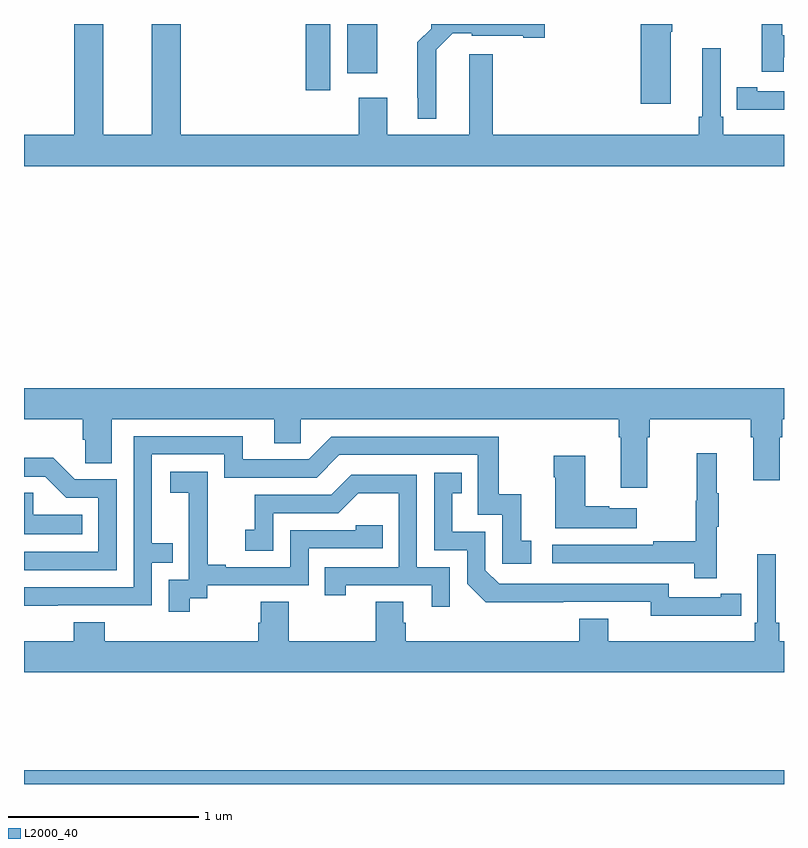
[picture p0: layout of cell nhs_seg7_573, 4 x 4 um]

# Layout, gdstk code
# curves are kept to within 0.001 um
import gdstk
lib = gdstk.Library(unit=1e-6, precision=1e-09)
def R(c, l, rs):  # rectangles x0, y0, x1, y1
    for r in rs: c.add(gdstk.rectangle(r[:2], r[2:], *l))
def P(c, l, *ps):  # polygons
    for p in ps: c.add(gdstk.Polygon(p, *l))
L2000_40 = (2000, 40)

nhs_seg7_573 = lib.new_cell('nhs_seg7_573')
R(nhs_seg7_573, L2000_40, [(155,1028,159,1028.072), (156.482,1031.652,156.613,1032), (156.701,1031.742,156.859,1032)])
P(nhs_seg7_573, L2000_40, [(158.404,1031.959),(158.412,1031.959),(158.412,1032),(158.246,1032),(158.246,1031.58),(158.404,1031.58)],
  [(158.999,1031.826),(159,1031.826),(159,1031.942),(158.992,1031.942),(158.992,1032),(158.882,1032),(158.882,1031.748),(158.999,1031.748)],
  [(159,1031.416),(158.681,1031.416),(158.681,1031.512),(158.667,1031.512),(158.667,1031.872),(158.57,1031.872),(158.57,1031.512),(158.551,1031.512),(158.551,1031.416),(157.466,1031.416),(157.466,1031.842),(157.343,1031.842),(157.343,1031.416),(156.913,1031.416),(156.913,1031.611),(156.761,1031.611),(156.761,1031.416),(155.825,1031.416),(155.825,1032),(155.672,1032),(155.672,1031.416),(155.416,1031.416),(155.416,1032),(155.264,1032),(155.264,1031.416),(155,1031.416),(155,1031.252),(159,1031.252)],
  [(157.171,1031.864),(157.257,1031.951),(157.356,1031.951),(157.356,1031.939),(157.628,1031.939),(157.628,1031.927),(157.741,1031.927),(157.741,1032),(157.143,1032),(157.143,1031.976),(157.07,1031.903),(157.07,1031.611),(157.073,1031.611),(157.073,1031.501),(157.171,1031.501)],
  [(159,1031.646),(158.86,1031.646),(158.86,1031.666),(158.752,1031.666),(158.752,1031.55),(158.86,1031.55),(158.86,1031.549),(159,1031.549)],
  [(158.281,1029.824),(158.294,1029.824),(158.294,1029.92),(158.825,1029.92),(158.825,1029.824),(158.837,1029.824),(158.837,1029.6),(158.977,1029.6),(158.977,1029.824),(158.99,1029.824),(158.99,1029.92),(159,1029.92),(159,1030.084),(155,1030.084),(155,1029.92),(155.309,1029.92),(155.309,1029.811),(155.322,1029.811),(155.322,1029.688),(155.461,1029.688),(155.461,1029.92),(156.317,1029.92),(156.317,1029.793),(156.456,1029.793),(156.456,1029.92),(158.129,1029.92),(158.129,1029.824),(158.141,1029.824),(158.141,1029.558),(158.281,1029.558)],
  [(155.177,1028.94),(155.673,1028.94),(155.673,1029.165),(155.783,1029.165),(155.783,1029.266),(155.673,1029.266),(155.673,1029.735),(156.054,1029.735),(156.054,1029.612),(156.54,1029.612),(156.66,1029.732),(157.389,1029.732),(157.389,1029.417),(157.518,1029.417),(157.518,1029.159),(157.669,1029.159),(157.669,1029.279),(157.616,1029.279),(157.616,1029.526),(157.498,1029.526),(157.498,1029.828),(156.618,1029.828),(156.498,1029.708),(156.151,1029.708),(156.151,1029.831),(155.577,1029.831),(155.577,1029.036),(155,1029.036),(155,1028.939)],
  [(158.645,1029.355),(158.656,1029.355),(158.656,1029.529),(158.645,1029.529),(158.645,1029.742),(158.542,1029.742),(158.542,1029.492),(158.535,1029.492),(158.535,1029.278),(158.311,1029.278),(158.311,1029.258),(157.779,1029.258),(157.779,1029.162),(158.527,1029.162),(158.527,1029.084),(158.645,1029.084)],
  [(158.224,1029.451),(158.081,1029.451),(158.081,1029.461),(157.954,1029.461),(157.954,1029.727),(157.789,1029.727),(157.789,1029.614),(157.796,1029.614),(157.796,1029.347),(158.224,1029.347)],
  [(155.487,1029.603),(155.268,1029.603),(155.155,1029.716),(155,1029.716),(155,1029.618),(155.111,1029.618),(155.222,1029.507),(155.391,1029.507),(155.391,1029.222),(155,1029.222),(155,1029.126),(155.487,1029.126)],
  [(155.872,1028.977),(155.964,1028.977),(155.964,1029.045),(156.498,1029.045),(156.498,1029.24),(156.887,1029.24),(156.887,1029.363),(156.747,1029.363),(156.747,1029.336),(156.402,1029.336),(156.402,1029.141),(156.061,1029.141),(156.061,1029.154),(155.966,1029.154),(155.966,1029.437),(155.967,1029.437),(155.967,1029.643),(155.769,1029.643),(155.769,1029.533),(155.867,1029.533),(155.867,1029.305),(155.868,1029.305),(155.868,1029.075),(155.763,1029.075),(155.763,1028.907),(155.872,1028.907)],
  [(158.666,1028.886),(158.774,1028.886),(158.774,1029.002),(158.666,1029.002),(158.666,1028.982),(158.394,1028.982),(158.394,1029.054),(157.5,1029.054),(157.428,1029.126),(157.428,1029.327),(157.255,1029.327),(157.255,1029.531),(157.304,1029.531),(157.304,1029.637),(157.158,1029.637),(157.158,1029.231),(157.332,1029.231),(157.332,1029.054),(157.43,1028.957),(158.298,1028.958),(158.298,1028.885)],
  [(157.242,1029.141),(157.068,1029.141),(157.068,1029.627),(156.722,1029.627),(156.617,1029.522),(156.214,1029.522),(156.214,1029.337),(156.165,1029.337),(156.165,1029.228),(156.312,1029.228),(156.312,1029.426),(156.654,1029.426),(156.758,1029.53),(156.972,1029.53),(156.972,1029.141),(156.583,1029.141),(156.583,1028.994),(156.694,1028.994),(156.694,1029.045),(157.145,1029.045),(157.145,1028.934),(157.242,1028.934)],
  [(155.306,1029.418),(155.049,1029.418),(155.049,1029.533),(155,1029.533),(155,1029.314),(155.306,1029.314)],
  [(159,1028.752),(158.975,1028.752),(158.975,1028.848),(158.956,1028.848),(158.956,1029.208),(158.859,1029.208),(158.859,1028.848),(158.846,1028.848),(158.846,1028.752),(158.074,1028.752),(158.074,1028.869),(157.922,1028.869),(157.922,1028.752),(157.01,1028.752),(157.01,1028.85),(156.997,1028.85),(156.997,1028.96),(156.85,1028.96),(156.85,1028.752),(156.393,1028.752),(156.393,1028.96),(156.245,1028.96),(156.245,1028.85),(156.233,1028.85),(156.233,1028.752),(155.426,1028.752),(155.426,1028.851),(155.261,1028.851),(155.261,1028.752),(155,1028.752),(155,1028.588),(159,1028.588)])

lib.write_gds('nhs_seg7_573.gds')
